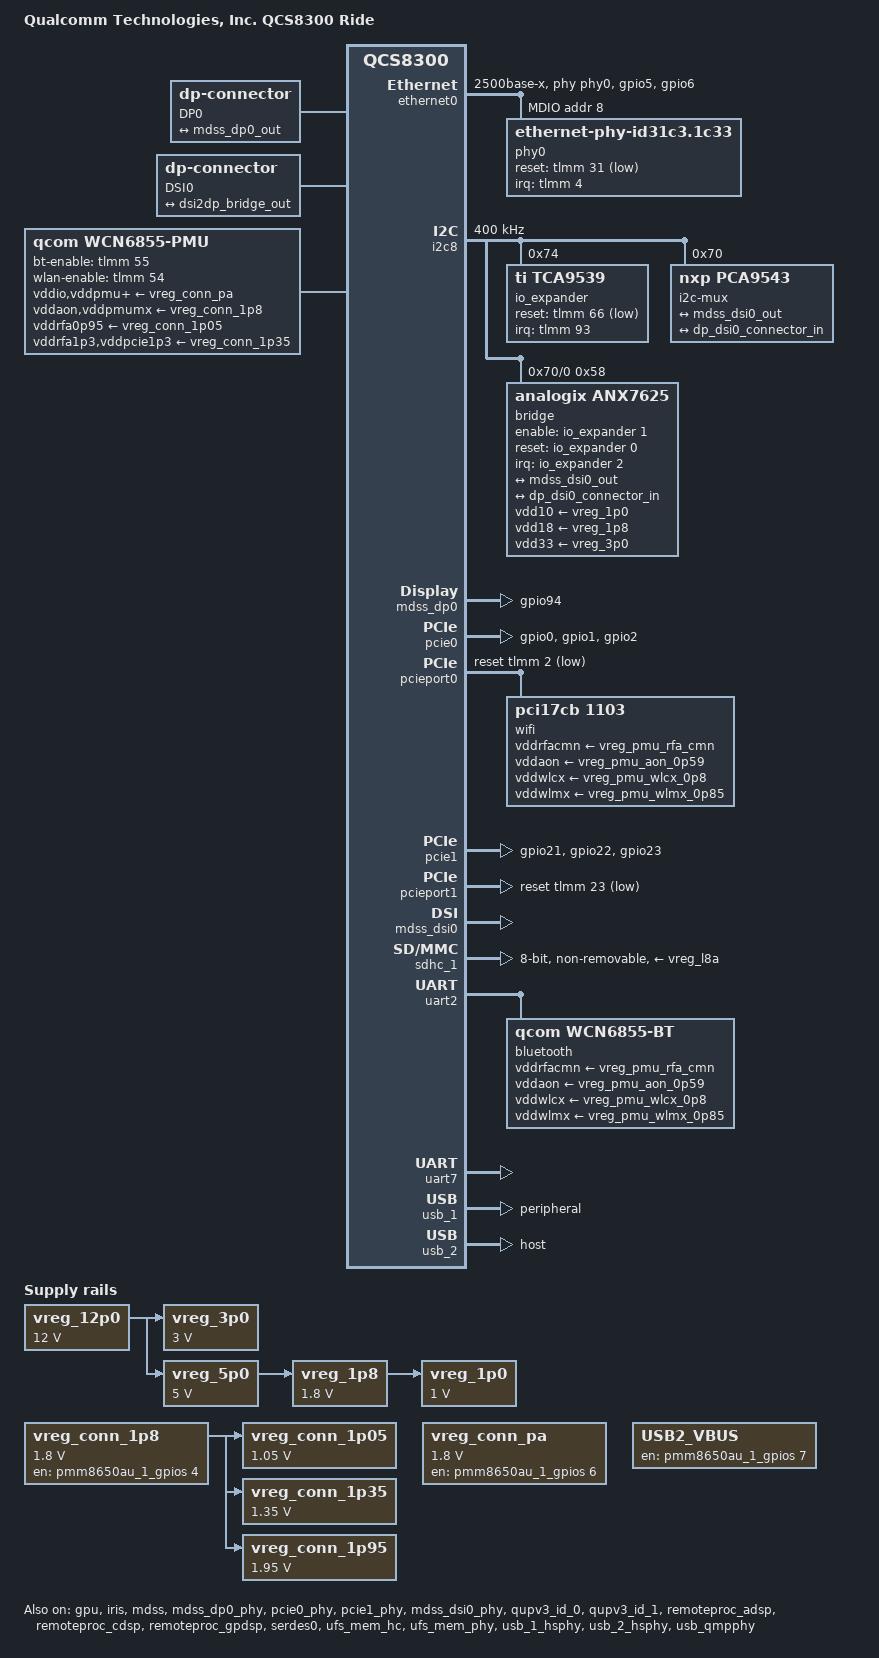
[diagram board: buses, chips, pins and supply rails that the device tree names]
// SPDX-License-Identifier: BSD-3-Clause
/*
 * Copyright (c) 2024 Qualcomm Innovation Center, Inc. All rights reserved.
 */

/dts-v1/;

#include <dt-bindings/gpio/gpio.h>
#include <dt-bindings/regulator/qcom,rpmh-regulator.h>

#include "monaco.dtsi"
#include "monaco-pmics.dtsi"
/ {
	model = "Qualcomm Technologies, Inc. QCS8300 Ride";
	compatible = "qcom,qcs8300-ride", "qcom,qcs8300";
	chassis-type = "embedded";

	aliases {
		serial0 = &uart7;
		mmc0 = &sdhc_1;
		serial1 = &uart2;
	};

	chosen {
		stdout-path = "serial0:115200n8";
	};

	vreg_1p0: regulator-vreg-1p0 {
		compatible = "regulator-fixed";
		regulator-name = "VREG_1P0";

		regulator-min-microvolt = <1000000>;
		regulator-max-microvolt = <1000000>;

		vin-supply = <&vreg_1p8>;

		regulator-always-on;
		regulator-boot-on;
	};

	vreg_1p8: regulator-vreg-1p8 {
		compatible = "regulator-fixed";
		regulator-name = "VREG_1P8";

		regulator-min-microvolt = <1800000>;
		regulator-max-microvolt = <1800000>;

		vin-supply = <&vreg_5p0>;

		regulator-always-on;
		regulator-boot-on;
	};

	vreg_3p0: regulator-vreg-3p0 {
		compatible = "regulator-fixed";
		regulator-name = "VREG_3P0";

		regulator-min-microvolt = <3000000>;
		regulator-max-microvolt = <3000000>;

		vin-supply = <&vreg_12p0>;

		regulator-always-on;
		regulator-boot-on;
	};

	vreg_5p0: regulator-vreg-5p0 {
		compatible = "regulator-fixed";
		regulator-name = "VREG_5P0";

		regulator-min-microvolt = <5000000>;
		regulator-max-microvolt = <5000000>;

		vin-supply = <&vreg_12p0>;

		regulator-always-on;
		regulator-boot-on;
	};

	vreg_12p0: regulator-vreg-12p0 {
		compatible = "regulator-fixed";
		regulator-name = "VREG_12P0";

		regulator-min-microvolt = <12000000>;
		regulator-max-microvolt = <12000000>;

		regulator-always-on;
		regulator-boot-on;
	};

	dp0-connector {
		compatible = "dp-connector";
		label = "DP0";
		type = "full-size";

		port {
			dp0_connector_in: endpoint {
				remote-endpoint = <&mdss_dp0_out>;
			};
		};
	};

	dp-dsi0-connector {
		compatible = "dp-connector";
		label = "DSI0";
		type = "full-size";

		port {
			dp_dsi0_connector_in: endpoint {
				remote-endpoint = <&dsi2dp_bridge_out>;
			};
		};
	};

	vreg_conn_1p05: regulator-conn-1p05 {
		compatible = "regulator-fixed";
		regulator-name = "vreg_conn_1p05";
		regulator-min-microvolt = <1050000>;
		regulator-max-microvolt = <1050000>;
		vin-supply = <&vreg_conn_1p8>;
	};

	vreg_conn_1p35: regulator-conn-1p35 {
		compatible = "regulator-fixed";
		regulator-name = "vreg_conn_1p35";
		regulator-min-microvolt = <1350000>;
		regulator-max-microvolt = <1350000>;
		vin-supply = <&vreg_conn_1p8>;
	};

	vreg_conn_1p8: regulator-conn-1p8 {
		compatible = "regulator-fixed";
		regulator-name = "vreg_conn_1p8";
		regulator-min-microvolt = <1800000>;
		regulator-max-microvolt = <1800000>;
		startup-delay-us = <4000>;
		enable-active-high;
		gpio = <&pmm8650au_1_gpios 4 GPIO_ACTIVE_HIGH>;
	};

	vreg_conn_1p95: regulator-conn-1p95 {
		compatible = "regulator-fixed";
		regulator-name = "vreg_conn_1p95";
		regulator-min-microvolt = <1950000>;
		regulator-max-microvolt = <1950000>;
		vin-supply = <&vreg_conn_1p8>;
	};

	vreg_conn_pa: regulator-conn-pa {
		compatible = "regulator-fixed";
		regulator-name = "vreg_conn_pa";
		regulator-min-microvolt = <1800000>;
		regulator-max-microvolt = <1800000>;
		startup-delay-us = <4000>;
		enable-active-high;
		gpio = <&pmm8650au_1_gpios 6 GPIO_ACTIVE_HIGH>;
	};

	regulator-usb2-vbus {
		compatible = "regulator-fixed";
		regulator-name = "USB2_VBUS";
		gpio = <&pmm8650au_1_gpios 7 GPIO_ACTIVE_HIGH>;
		pinctrl-0 = <&usb2_en>;
		pinctrl-names = "default";
		enable-active-high;
		regulator-always-on;
	};

	wcn6855-pmu {
		compatible = "qcom,wcn6855-pmu";

		pinctrl-0 = <&wlan_en_state>;
		pinctrl-names = "default";

		vddio-supply = <&vreg_conn_pa>;
		vddaon-supply = <&vreg_conn_1p8>;
		vddpmu-supply = <&vreg_conn_pa>;
		vddpmumx-supply = <&vreg_conn_1p8>;
		vddpmucx-supply = <&vreg_conn_pa>;
		/* WLAN rails: 1.05/1.35/1.95V (nominal 0.95/1.30/1.90V) */
		vddrfa0p95-supply = <&vreg_conn_1p05>;
		vddrfa1p3-supply = <&vreg_conn_1p35>;
		vddrfa1p9-supply = <&vreg_conn_1p95>;
		vddpcie1p3-supply = <&vreg_conn_1p35>;
		vddpcie1p9-supply = <&vreg_conn_1p95>;

		bt-enable-gpios = <&tlmm 55 GPIO_ACTIVE_HIGH>;
		wlan-enable-gpios = <&tlmm 54 GPIO_ACTIVE_HIGH>;

		regulators {
			vreg_pmu_rfa_cmn: ldo0 {
				regulator-name = "vreg_pmu_rfa_cmn";
			};

			vreg_pmu_aon_0p59: ldo1 {
				regulator-name = "vreg_pmu_aon_0p59";
			};

			vreg_pmu_wlcx_0p8: ldo2 {
				regulator-name = "vreg_pmu_wlcx_0p8";
			};

			vreg_pmu_wlmx_0p85: ldo3 {
				regulator-name = "vreg_pmu_wlmx_0p85";
			};

			vreg_pmu_btcmx_0p85: ldo4 {
				regulator-name = "vreg_pmu_btcmx_0p85";
			};

			vreg_pmu_rfa_0p8: ldo5 {
				regulator-name = "vreg_pmu_rfa_0p8";
			};

			vreg_pmu_rfa_1p2: ldo6 {
				regulator-name = "vreg_pmu_rfa_1p2";
			};

			vreg_pmu_rfa_1p7: ldo7 {
				regulator-name = "vreg_pmu_rfa_1p7";
			};

			vreg_pmu_pcie_0p9: ldo8 {
				regulator-name = "vreg_pmu_pcie_0p9";
			};

			vreg_pmu_pcie_1p8: ldo9 {
				regulator-name = "vreg_pmu_pcie_1p8";
			};
		};
	};
};

&apps_rsc {
	regulators-0 {
		compatible = "qcom,pmm8654au-rpmh-regulators";
		qcom,pmic-id = "a";

		vreg_s4a: smps4 {
			regulator-name = "vreg_s4a";
			regulator-min-microvolt = <1800000>;
			regulator-max-microvolt = <1800000>;
			regulator-initial-mode = <RPMH_REGULATOR_MODE_HPM>;
		};

		vreg_s9a: smps9 {
			regulator-name = "vreg_s9a";
			regulator-min-microvolt = <1352000>;
			regulator-max-microvolt = <1352000>;
			regulator-initial-mode = <RPMH_REGULATOR_MODE_HPM>;
		};

		vreg_l3a: ldo3 {
			regulator-name = "vreg_l3a";
			regulator-min-microvolt = <1200000>;
			regulator-max-microvolt = <1200000>;
			regulator-initial-mode = <RPMH_REGULATOR_MODE_HPM>;
			regulator-allow-set-load;
			regulator-allowed-modes = <RPMH_REGULATOR_MODE_LPM
						   RPMH_REGULATOR_MODE_HPM>;
		};

		vreg_l4a: ldo4 {
			regulator-name = "vreg_l4a";
			regulator-min-microvolt = <880000>;
			regulator-max-microvolt = <912000>;
			regulator-initial-mode = <RPMH_REGULATOR_MODE_HPM>;
			regulator-allow-set-load;
			regulator-allowed-modes = <RPMH_REGULATOR_MODE_LPM
						   RPMH_REGULATOR_MODE_HPM>;
		};

		vreg_l5a: ldo5 {
			regulator-name = "vreg_l5a";
			regulator-min-microvolt = <1200000>;
			regulator-max-microvolt = <1200000>;
			regulator-initial-mode = <RPMH_REGULATOR_MODE_HPM>;
			regulator-allow-set-load;
			regulator-allowed-modes = <RPMH_REGULATOR_MODE_LPM
						   RPMH_REGULATOR_MODE_HPM>;
		};

		vreg_l6a: ldo6 {
			regulator-name = "vreg_l6a";
			regulator-min-microvolt = <880000>;
			regulator-max-microvolt = <912000>;
			regulator-initial-mode = <RPMH_REGULATOR_MODE_HPM>;
			regulator-allow-set-load;
			regulator-allowed-modes = <RPMH_REGULATOR_MODE_LPM
						   RPMH_REGULATOR_MODE_HPM>;
		};

		vreg_l7a: ldo7 {
			regulator-name = "vreg_l7a";
			regulator-min-microvolt = <880000>;
			regulator-max-microvolt = <912000>;
			regulator-initial-mode = <RPMH_REGULATOR_MODE_HPM>;
			regulator-allow-set-load;
			regulator-allowed-modes = <RPMH_REGULATOR_MODE_LPM
						   RPMH_REGULATOR_MODE_HPM>;
		};

		vreg_l8a: ldo8 {
			regulator-name = "vreg_l8a";
			regulator-min-microvolt = <2504000>;
			regulator-max-microvolt = <2960000>;
			regulator-initial-mode = <RPMH_REGULATOR_MODE_HPM>;
			regulator-allow-set-load;
			regulator-allowed-modes = <RPMH_REGULATOR_MODE_LPM
						   RPMH_REGULATOR_MODE_HPM>;
		};

		vreg_l9a: ldo9 {
			regulator-name = "vreg_l9a";
			regulator-min-microvolt = <2970000>;
			regulator-max-microvolt = <3072000>;
			regulator-initial-mode = <RPMH_REGULATOR_MODE_HPM>;
			regulator-allow-set-load;
			regulator-allowed-modes = <RPMH_REGULATOR_MODE_LPM
						   RPMH_REGULATOR_MODE_HPM>;
		};
	};

	regulators-1 {
		compatible = "qcom,pmm8654au-rpmh-regulators";
		qcom,pmic-id = "c";

		vreg_s5c: smps5 {
			regulator-name = "vreg_s5c";
			regulator-min-microvolt = <1104000>;
			regulator-max-microvolt = <1104000>;
			regulator-initial-mode = <RPMH_REGULATOR_MODE_HPM>;
		};

		vreg_l1c: ldo1 {
			regulator-name = "vreg_l1c";
			regulator-min-microvolt = <300000>;
			regulator-max-microvolt = <500000>;
			regulator-initial-mode = <RPMH_REGULATOR_MODE_HPM>;
			regulator-allow-set-load;
			regulator-allowed-modes = <RPMH_REGULATOR_MODE_LPM
						   RPMH_REGULATOR_MODE_HPM>;
		};

		vreg_l2c: ldo2 {
			regulator-name = "vreg_l2c";
			regulator-min-microvolt = <900000>;
			regulator-max-microvolt = <904000>;
			regulator-initial-mode = <RPMH_REGULATOR_MODE_HPM>;
			regulator-allow-set-load;
			regulator-allowed-modes = <RPMH_REGULATOR_MODE_LPM
						   RPMH_REGULATOR_MODE_HPM>;
		};

		vreg_l4c: ldo4 {
			regulator-name = "vreg_l4c";
			regulator-min-microvolt = <1200000>;
			regulator-max-microvolt = <1200000>;
			regulator-initial-mode = <RPMH_REGULATOR_MODE_HPM>;
			regulator-allow-set-load;
			regulator-allowed-modes = <RPMH_REGULATOR_MODE_LPM
						   RPMH_REGULATOR_MODE_HPM>;
		};

		vreg_l6c: ldo6 {
			regulator-name = "vreg_l6c";
			regulator-min-microvolt = <1800000>;
			regulator-max-microvolt = <1800000>;
			regulator-initial-mode = <RPMH_REGULATOR_MODE_HPM>;
			regulator-allow-set-load;
			regulator-allowed-modes = <RPMH_REGULATOR_MODE_LPM
						   RPMH_REGULATOR_MODE_HPM>;
		};

		vreg_l7c: ldo7 {
			regulator-name = "vreg_l7c";
			regulator-min-microvolt = <1800000>;
			regulator-max-microvolt = <1800000>;
			regulator-initial-mode = <RPMH_REGULATOR_MODE_HPM>;
			regulator-allow-set-load;
			regulator-allowed-modes = <RPMH_REGULATOR_MODE_LPM
						   RPMH_REGULATOR_MODE_HPM>;
		};

		vreg_l8c: ldo8 {
			regulator-name = "vreg_l8c";
			regulator-min-microvolt = <1800000>;
			regulator-max-microvolt = <1800000>;
			regulator-initial-mode = <RPMH_REGULATOR_MODE_HPM>;
			regulator-allow-set-load;
			regulator-allowed-modes = <RPMH_REGULATOR_MODE_LPM
						   RPMH_REGULATOR_MODE_HPM>;
		};

		vreg_l9c: ldo9 {
			regulator-name = "vreg_l9c";
			regulator-min-microvolt = <1800000>;
			regulator-max-microvolt = <1800000>;
			regulator-initial-mode = <RPMH_REGULATOR_MODE_HPM>;
			regulator-allow-set-load;
			regulator-allowed-modes = <RPMH_REGULATOR_MODE_LPM
						   RPMH_REGULATOR_MODE_HPM>;
		};
	};
};

&ethernet0 {
	phy-mode = "2500base-x";
	phy-handle = <&phy0>;

	pinctrl-0 = <&ethernet0_default>;
	pinctrl-names = "default";

	snps,mtl-rx-config = <&mtl_rx_setup>;
	snps,mtl-tx-config = <&mtl_tx_setup>;
	snps,ps-speed = <1000>;

	status = "okay";

	mdio {
		compatible = "snps,dwmac-mdio";
		#address-cells = <1>;
		#size-cells = <0>;

		phy0: phy@8 {
			compatible = "ethernet-phy-id31c3.1c33";
			reg = <0x8>;
			device_type = "ethernet-phy";
			interrupts-extended = <&tlmm 4 IRQ_TYPE_EDGE_FALLING>;
			reset-gpios = <&tlmm 31 GPIO_ACTIVE_LOW>;
			reset-assert-us = <11000>;
			reset-deassert-us = <70000>;
		};
	};

	mtl_rx_setup: rx-queues-config {
		snps,rx-queues-to-use = <4>;
		snps,rx-sched-sp;

		queue0 {
			snps,dcb-algorithm;
			snps,map-to-dma-channel = <0x0>;
			snps,route-up;
			snps,priority = <0x1>;
		};

		queue1 {
			snps,dcb-algorithm;
			snps,map-to-dma-channel = <0x1>;
			snps,route-ptp;
		};

		queue2 {
			snps,avb-algorithm;
			snps,map-to-dma-channel = <0x2>;
			snps,route-avcp;
		};

		queue3 {
			snps,avb-algorithm;
			snps,map-to-dma-channel = <0x3>;
			snps,priority = <0xc>;
		};
	};

	mtl_tx_setup: tx-queues-config {
		snps,tx-queues-to-use = <4>;

		queue0 {
			snps,dcb-algorithm;
		};

		queue1 {
			snps,dcb-algorithm;
		};

		queue2 {
			snps,avb-algorithm;
			snps,send_slope = <0x1000>;
			snps,idle_slope = <0x1000>;
			snps,high_credit = <0x3e800>;
			snps,low_credit = <0xffc18000>;
		};

		queue3 {
			snps,avb-algorithm;
			snps,send_slope = <0x1000>;
			snps,idle_slope = <0x1000>;
			snps,high_credit = <0x3e800>;
			snps,low_credit = <0xffc18000>;
		};
	};
};

&gpu {
	status = "okay";
};

&gpu_zap_shader {
	firmware-name = "qcom/qcs8300/a623_zap.mbn";
};

&i2c8 {
	clock-frequency = <400000>;

	status = "okay";

	io_expander: gpio@74 {
		compatible = "ti,tca9539";
		reg = <0x74>;
		interrupts-extended = <&tlmm 93 IRQ_TYPE_EDGE_BOTH>;
		gpio-controller;
		#gpio-cells = <2>;
		interrupt-controller;
		#interrupt-cells = <2>;
		reset-gpios = <&tlmm 66 GPIO_ACTIVE_LOW>;

		pinctrl-0 = <&io_expander_intr_active>,
			    <&io_expander_reset_active>;
		pinctrl-names = "default";
	};

	i2c-mux@70 {
		compatible = "nxp,pca9543";
		reg = <0x70>;

		#address-cells = <1>;
		#size-cells = <0>;

		i2c@0 {
			reg = <0>;
			#address-cells = <1>;
			#size-cells = <0>;

			bridge@58 {
				compatible = "analogix,anx7625";
				reg = <0x58>;
				interrupts-extended = <&io_expander 2 IRQ_TYPE_EDGE_FALLING>;
				enable-gpios = <&io_expander 1 GPIO_ACTIVE_HIGH>;
				reset-gpios = <&io_expander 0 GPIO_ACTIVE_HIGH>;
				vdd10-supply = <&vreg_1p0>;
				vdd18-supply = <&vreg_1p8>;
				vdd33-supply = <&vreg_3p0>;

				ports {
					#address-cells = <1>;
					#size-cells = <0>;

					port@0 {
						reg = <0>;

						dsi2dp_bridge_in: endpoint {

							remote-endpoint = <&mdss_dsi0_out>;
						};
					};

					port@1 {
						reg = <1>;

						dsi2dp_bridge_out: endpoint {

							remote-endpoint = <&dp_dsi0_connector_in>;
						};
					};
				};
			};
		};
	};
};

&pmm8650au_1_gpios {
	usb2_en: usb2-en-state {
		pins = "gpio7";
		function = "normal";
		output-enable;
		power-source = <0>;
	};
};

&iris {
	status = "okay";
};

&mdss {
	status = "okay";
};

&mdss_dp0 {
	pinctrl-0 = <&dp_hot_plug_det>;
	pinctrl-names = "default";

	status = "okay";
};

&mdss_dp0_out {
	data-lanes = <0 1 2 3>;
	link-frequencies = /bits/ 64 <1620000000 2700000000 5400000000 8100000000>;
	remote-endpoint = <&dp0_connector_in>;
};

&mdss_dp0_phy {
	vdda-phy-supply = <&vreg_l5a>;
	vdda-pll-supply = <&vreg_l4a>;

	status = "okay";
};

&pcie0 {
	pinctrl-0 = <&pcie0_default_state>;
	pinctrl-names = "default";

	status = "okay";
};

&pcieport0 {
	reset-gpios = <&tlmm 2 GPIO_ACTIVE_LOW>;
	wake-gpios = <&tlmm 0 GPIO_ACTIVE_HIGH>;

	wifi@0 {
		compatible = "pci17cb,1103";
		reg = <0x10000 0x0 0x0 0x0 0x0>;

		vddrfacmn-supply = <&vreg_pmu_rfa_cmn>;
		vddaon-supply = <&vreg_pmu_aon_0p59>;
		vddwlcx-supply = <&vreg_pmu_wlcx_0p8>;
		vddwlmx-supply = <&vreg_pmu_wlmx_0p85>;
		vddrfa0p8-supply = <&vreg_pmu_rfa_0p8>;
		vddrfa1p2-supply = <&vreg_pmu_rfa_1p2>;
		vddrfa1p8-supply = <&vreg_pmu_rfa_1p7>;
		vddpcie0p9-supply = <&vreg_pmu_pcie_0p9>;
		vddpcie1p8-supply = <&vreg_pmu_pcie_1p8>;

		qcom,calibration-variant = "QC_QCS8300_Ride";
	};
};

&pcie0_phy {
	vdda-phy-supply = <&vreg_l6a>;
	vdda-pll-supply = <&vreg_l5a>;

	status = "okay";
};

&pcie1 {
	pinctrl-0 = <&pcie1_default_state>;
	pinctrl-names = "default";

	status = "okay";
};

&pcieport1 {
	reset-gpios = <&tlmm 23 GPIO_ACTIVE_LOW>;
	wake-gpios = <&tlmm 21 GPIO_ACTIVE_HIGH>;
};

&pcie1_phy {
	vdda-phy-supply = <&vreg_l6a>;
	vdda-pll-supply = <&vreg_l5a>;

	status = "okay";
};

&mdss_dsi0 {
	vdda-supply = <&vreg_l5a>;

	status = "okay";
};

&mdss_dsi0_phy {
	vdds-supply = <&vreg_l4a>;

	status = "okay";
};

&mdss_dsi0_out {
	data-lanes = <0 1 2 3>;
	remote-endpoint = <&dsi2dp_bridge_in>;
};

&qupv3_id_0 {
	status = "okay";
};

&qupv3_id_1 {
	status = "okay";
};

&remoteproc_adsp {
	firmware-name = "qcom/qcs8300/adsp.mbn";
	status = "okay";
};

&remoteproc_cdsp {
	firmware-name = "qcom/qcs8300/cdsp0.mbn";
	status = "okay";
};

&remoteproc_gpdsp {
	firmware-name = "qcom/qcs8300/gpdsp0.mbn";
	status = "okay";
};

&serdes0 {
	phy-supply = <&vreg_l5a>;
	status = "okay";
};

&sdhc_1 {
	pinctrl-0 = <&sdc1_state_on>;
	pinctrl-1 = <&sdc1_state_off>;
	pinctrl-names = "default", "sleep";

	bus-width = <8>;
	mmc-ddr-1_8v;
	mmc-hs200-1_8v;
	mmc-hs400-1_8v;
	mmc-hs400-enhanced-strobe;
	vmmc-supply = <&vreg_l8a>;
	vqmmc-supply = <&vreg_s4a>;

	non-removable;
	no-sd;
	no-sdio;

	status = "okay";
};

&tlmm {
	bt_en_state: bt-en-state {
		pins = "gpio55";
		function = "gpio";
		bias-pull-down;
	};

	pcie0_default_state: pcie0-default-state {
		wake-pins {
			pins = "gpio0";
			function = "gpio";
			drive-strength = <2>;
			bias-pull-up;
		};

		clkreq-pins {
			pins = "gpio1";
			function = "pcie0_clkreq";
			drive-strength = <2>;
			bias-pull-up;
		};

		perst-pins {
			pins = "gpio2";
			function = "gpio";
			drive-strength = <2>;
			bias-pull-down;
		};
	};

	ethernet0_default: ethernet0-default-state {
		ethernet0_mdc: ethernet0-mdc-pins {
			pins = "gpio5";
			function = "emac0_mdc";
			drive-strength = <16>;
			bias-pull-up;
		};

		ethernet0_mdio: ethernet0-mdio-pins {
			pins = "gpio6";
			function = "emac0_mdio";
			drive-strength = <16>;
			bias-pull-up;
		};
	};

	pcie1_default_state: pcie1-default-state {
		wake-pins {
			pins = "gpio21";
			function = "gpio";
			drive-strength = <2>;
			bias-pull-up;
		};

		clkreq-pins {
			pins = "gpio22";
			function = "pcie1_clkreq";
			drive-strength = <2>;
			bias-pull-up;
		};

		perst-pins {
			pins = "gpio23";
			function = "gpio";
			drive-strength = <2>;
			bias-pull-down;
		};
	};

	io_expander_reset_active: io-expander-reset-active-state {
		pins = "gpio66";
		function = "gpio";
		drive-strength = <2>;
		bias-disable;
	};

	io_expander_intr_active: io-expander-intr-active-state {
		pins = "gpio93";
		function = "gpio";
		drive-strength = <2>;
		bias-disable;
	};

	dp_hot_plug_det: dp-hot-plug-det-state {
		pins = "gpio94";
		function = "edp0_hot";
		bias-disable;
	};

	wlan_en_state: wlan-en-state {
		pins = "gpio54";
		function = "gpio";
		bias-pull-down;
	};
};

&uart2 {
	status = "okay";

	bluetooth: bluetooth {
		compatible = "qcom,wcn6855-bt";
		firmware-name = "QCA6698/hpnv21", "QCA6698/hpbtfw21.tlv";
		max-speed = <3200000>;

		vddrfacmn-supply = <&vreg_pmu_rfa_cmn>;
		vddaon-supply = <&vreg_pmu_aon_0p59>;
		vddwlcx-supply = <&vreg_pmu_wlcx_0p8>;
		vddwlmx-supply = <&vreg_pmu_wlmx_0p85>;
		vddbtcmx-supply = <&vreg_pmu_btcmx_0p85>;
		vddrfa0p8-supply = <&vreg_pmu_rfa_0p8>;
		vddrfa1p2-supply = <&vreg_pmu_rfa_1p2>;
		vddrfa1p8-supply = <&vreg_pmu_rfa_1p7>;
	};
};

&uart7 {
	status = "okay";
};

&ufs_mem_hc {
	reset-gpios = <&tlmm 133 GPIO_ACTIVE_LOW>;
	vcc-supply = <&vreg_l8a>;
	vcc-max-microamp = <1100000>;
	vccq-supply = <&vreg_l4c>;
	vccq-max-microamp = <1200000>;
	status = "okay";
};

&ufs_mem_phy {
	vdda-phy-supply = <&vreg_l4a>;
	vdda-pll-supply = <&vreg_l5a>;
	status = "okay";
};

&usb_1_hsphy {
	vdda-pll-supply = <&vreg_l7a>;
	vdda18-supply = <&vreg_l7c>;
	vdda33-supply = <&vreg_l9a>;

	status = "okay";
};

&usb_2_hsphy {
	vdda-pll-supply = <&vreg_l7a>;
	vdda18-supply = <&vreg_l7c>;
	vdda33-supply = <&vreg_l9a>;

	status = "okay";
};

&usb_qmpphy {
	vdda-phy-supply = <&vreg_l7a>;
	vdda-pll-supply = <&vreg_l5a>;

	status = "okay";
};

&usb_1 {
	dr_mode = "peripheral";

	status = "okay";
};

&usb_2 {
	dr_mode = "host";

	status = "okay";
};
